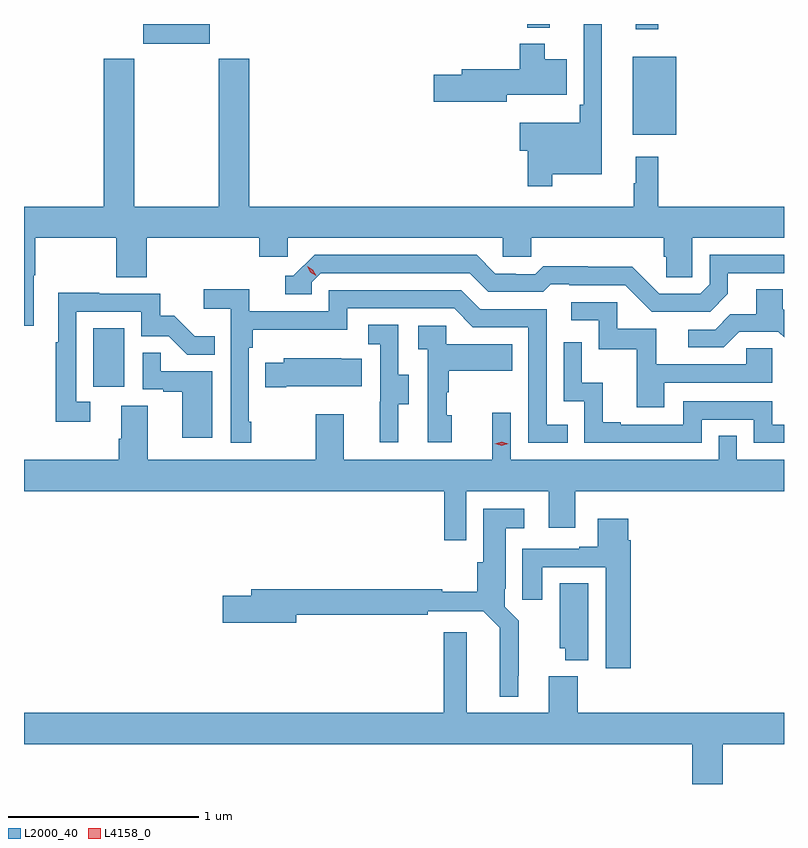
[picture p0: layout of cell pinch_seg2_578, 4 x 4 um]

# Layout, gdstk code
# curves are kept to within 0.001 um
import gdstk
lib = gdstk.Library(unit=1e-6, precision=1e-09)
def R(c, l, rs):  # rectangles x0, y0, x1, y1
    for r in rs: c.add(gdstk.rectangle(r[:2], r[2:], *l))
def P(c, l, *ps):  # polygons
    for p in ps: c.add(gdstk.Polygon(p, *l))
L2000_40 = (2000, 40)
L4158_0 = (4158, 0)

pinch_seg2_578 = lib.new_cell('pinch_seg2_578')
R(pinch_seg2_578, L2000_40, [(1056.428,612.222,1056.592,612.529), (1059.269,613.547,1059.496,613.957), (1056.692,614.027,1057.042,614.13), (1059.284,614.103,1059.401,614.13), (1058.713,614.111,1058.831,614.13)])
P(pinch_seg2_578, L2000_40, [(1058.845,613.34),(1059.106,613.34),(1059.106,614.13),(1059.009,614.13),(1059.009,613.705),(1058.989,613.705),(1058.989,613.609),(1058.672,613.609),(1058.672,613.462),(1058.716,613.462),(1058.716,613.275),(1058.845,613.275)],
  [(1058.604,613.757),(1058.92,613.757),(1058.92,613.945),(1058.806,613.945),(1058.806,614.026),(1058.672,614.026),(1058.672,613.893),(1058.369,613.893),(1058.369,613.863),(1058.22,613.863),(1058.22,613.721),(1058.604,613.721)],
  [(1056.115,612.808),(1056.123,612.808),(1056.123,613.004),(1056.55,613.004),(1056.55,612.796),(1056.71,612.796),(1056.71,613.004),(1057.301,613.004),(1057.301,612.906),(1057.452,612.906),(1057.452,613.004),(1058.583,613.004),(1058.583,612.906),(1058.733,612.906),(1058.733,613.004),(1059.431,613.004),(1059.431,612.906),(1059.445,612.906),(1059.445,612.796),(1059.582,612.796),(1059.582,613.004),(1060.064,613.004),(1060.064,613.168),(1059.401,613.168),(1059.401,613.432),(1059.284,613.432),(1059.284,613.292),(1059.273,613.292),(1059.273,613.168),(1057.25,613.168),(1057.25,613.948),(1057.09,613.948),(1057.09,613.168),(1056.645,613.168),(1056.645,613.948),(1056.485,613.948),(1056.485,613.168),(1056.064,613.168),(1056.064,612.543),(1056.115,612.543)],
  [(1059.769,612.709),(1059.769,612.819),(1060.064,612.819),(1060.064,612.915),(1059.672,612.915),(1059.672,612.759),(1059.624,612.711),(1059.408,612.711),(1059.266,612.853),(1059.03,612.853),(1059.03,612.856),(1058.797,612.856),(1058.755,612.813),(1058.652,612.813),(1058.652,612.816),(1058.545,612.816),(1058.446,612.915),(1057.593,612.915),(1057.482,612.804),(1057.439,612.804),(1057.439,612.708),(1057.578,612.708),(1057.578,612.771),(1057.626,612.819),(1058.409,612.819),(1058.508,612.72),(1058.797,612.72),(1058.836,612.759),(1058.935,612.759),(1058.935,612.756),(1059.228,612.756),(1059.369,612.615),(1059.675,612.615)],
  [(1057.261,612.037),(1057.248,612.037),(1057.248,612.425),(1057.268,612.425),(1057.268,612.521),(1057.764,612.521),(1057.764,612.633),(1058.328,612.633),(1058.427,612.534),(1058.718,612.534),(1058.718,611.925),(1058.927,611.925),(1058.927,612.021),(1058.814,612.021),(1058.814,612.63),(1058.464,612.63),(1058.365,612.729),(1057.668,612.729),(1057.668,612.618),(1057.25,612.618),(1057.25,612.734),(1057.011,612.734),(1057.011,612.632),(1057.152,612.632),(1057.152,611.925),(1057.261,611.925)],
  [(1059.829,612.51),(1060.035,612.51),(1060.064,612.481),(1060.064,612.625),(1060.057,612.632),(1060.057,612.734),(1059.917,612.734),(1059.917,612.602),(1059.782,612.602),(1059.702,612.522),(1059.561,612.522),(1059.561,612.429),(1059.748,612.429)],
  [(1056.412,612.141),(1056.339,612.141),(1056.339,612.615),(1056.681,612.615),(1056.681,612.486),(1056.825,612.486),(1056.923,612.388),(1057.067,612.388),(1057.067,612.487),(1056.963,612.487),(1056.856,612.594),(1056.78,612.594),(1056.78,612.711),(1056.461,612.711),(1056.461,612.716),(1056.243,612.716),(1056.243,612.455),(1056.231,612.455),(1056.231,612.036),(1056.412,612.036)],
  [(1059.433,612.243),(1060.002,612.243),(1060.002,612.423),(1059.865,612.423),(1059.865,612.339),(1059.391,612.339),(1059.391,612.525),(1059.186,612.525),(1059.186,612.666),(1058.943,612.666),(1058.943,612.57),(1059.09,612.57),(1059.09,612.417),(1059.289,612.417),(1059.289,612.114),(1059.433,612.114)],
  [(1058.035,612.13),(1058.089,612.13),(1058.089,612.285),(1058.034,612.285),(1058.034,612.548),(1057.875,612.548),(1057.875,612.445),(1057.938,612.445),(1057.938,612.141),(1057.937,612.141),(1057.937,611.928),(1058.035,611.928)],
  [(1058.314,612.072),(1058.289,612.072),(1058.289,612.191),(1058.299,612.191),(1058.299,612.305),(1058.633,612.305),(1058.633,612.445),(1058.286,612.445),(1058.286,612.543),(1058.139,612.543),(1058.139,612.419),(1058.19,612.419),(1058.19,611.928),(1058.314,611.928)],
  [(1059.63,612.048),(1059.906,612.048),(1059.906,611.925),(1060.064,611.925),(1060.064,612.021),(1060.002,612.021),(1060.002,612.144),(1059.534,612.144),(1059.534,612.021),(1059.205,612.021),(1059.205,612.034),(1059.11,612.034),(1059.11,612.242),(1059,612.242),(1059,612.454),(1058.904,612.454),(1058.904,612.144),(1059.012,612.144),(1059.012,611.925),(1059.63,611.925)],
  [(1057.054,612.303),(1056.785,612.303),(1056.785,612.401),(1056.69,612.401),(1056.69,612.207),(1056.797,612.207),(1056.797,612.195),(1056.896,612.195),(1056.896,611.952),(1057.054,611.952)],
  [(1057.444,612.224),(1057.841,612.224),(1057.841,612.367),(1057.733,612.367),(1057.733,612.37),(1057.431,612.37),(1057.431,612.346),(1057.333,612.346),(1057.333,612.217),(1057.444,612.217)],
  [(1058.391,611.672),(1058.825,611.672),(1058.825,611.478),(1058.965,611.478),(1058.965,611.672),(1060.064,611.672),(1060.064,611.836),(1059.816,611.836),(1059.816,611.963),(1059.72,611.963),(1059.72,611.836),(1058.625,611.836),(1058.625,612.085),(1058.528,612.085),(1058.528,611.836),(1057.747,611.836),(1057.747,612.076),(1057.6,612.076),(1057.6,611.836),(1056.715,611.836),(1056.715,612.122),(1056.575,612.122),(1056.575,611.948),(1056.563,611.948),(1056.563,611.836),(1056.064,611.836),(1056.064,611.672),(1058.275,611.672),(1058.275,611.412),(1058.391,611.412)],
  [(1058.665,610.699),(1058.669,610.699),(1058.669,610.99),(1058.595,611.064),(1058.595,611.158),(1058.599,611.158),(1058.599,611.477),(1058.698,611.477),(1058.698,611.578),(1058.48,611.578),(1058.48,611.298),(1058.45,611.298),(1058.45,611.141),(1058.266,611.141),(1058.266,611.156),(1057.259,611.156),(1057.259,611.12),(1057.11,611.12),(1057.11,610.978),(1057.498,610.978),(1057.498,611.02),(1058.189,611.02),(1058.189,611.04),(1058.48,611.04),(1058.568,610.952),(1058.567,610.589),(1058.665,610.589)],
  [(1059.257,611.414),(1059.244,611.414),(1059.244,611.527),(1059.083,611.527),(1059.083,611.38),(1058.987,611.38),(1058.987,611.367),(1058.687,611.367),(1058.687,611.1),(1058.791,611.1),(1058.791,611.271),(1059.125,611.271),(1059.125,610.74),(1059.257,610.74)],
  [(1059.034,611.186),(1058.885,611.186),(1058.885,610.845),(1058.912,610.845),(1058.912,610.781),(1059.034,610.781)],
  [(1059.741,610.34),(1060.064,610.34),(1060.064,610.504),(1058.978,610.504),(1058.978,610.696),(1058.825,610.696),(1058.825,610.504),(1058.395,610.504),(1058.395,610.93),(1058.273,610.93),(1058.273,610.504),(1056.064,610.504),(1056.064,610.34),(1059.581,610.34),(1059.581,610.13),(1059.741,610.13)])
P(pinch_seg2_578, L4158_0, [(1057.602,612.805),(1057.571,612.824),(1057.554,612.856),(1057.554,612.856),(1057.554,612.856),(1057.585,612.837),(1057.602,612.805),(1057.602,612.805)],
  [(1058.578,611.911),(1058.542,611.92),(1058.542,611.921),(1058.542,611.921),(1058.578,611.931),(1058.613,611.921),(1058.613,611.921),(1058.613,611.92)])

lib.write_gds('pinch_seg2_578.gds')
